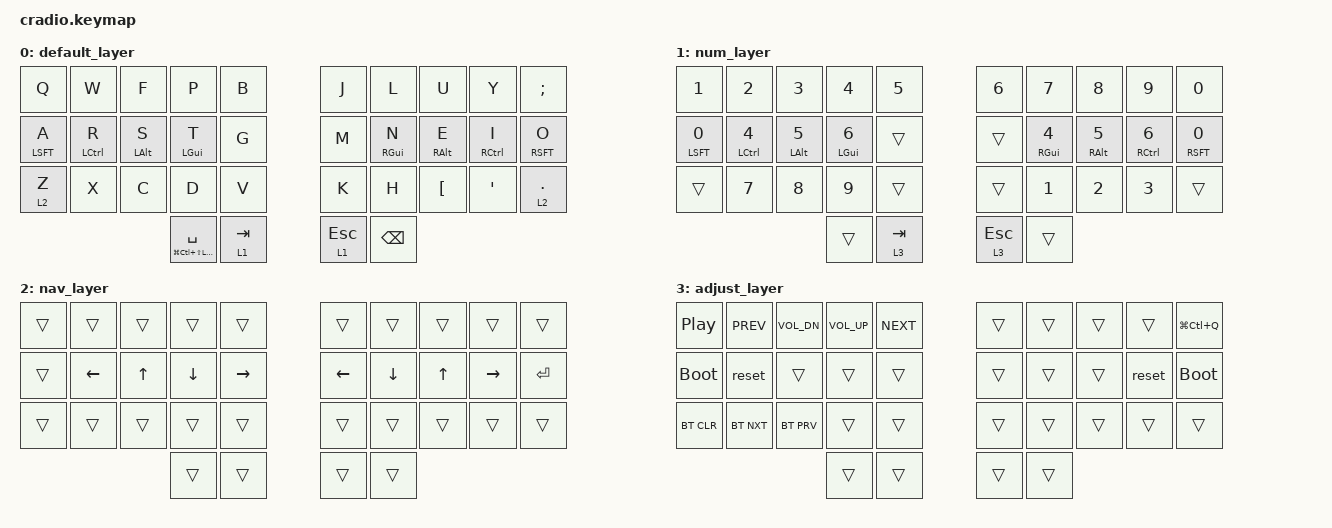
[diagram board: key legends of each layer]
/*
 * Copyright (c) 2020 The ZMK Contributors
 *
 * SPDX-License-Identifier: MIT
 */

#include <behaviors.dtsi>
#include <dt-bindings/zmk/keys.h>
#include <dt-bindings/zmk/bt.h>


&mt {
  flavor = "tap-preferred";
  tapping_term_ms = <200>;
};

#define HPR LG(LC(LS(LALT)))
#define MAC_LOCK LG(LC(Q))

/* Swedish chars */
#define SE_AA           LBKT
#define SE_AE           SQT
#define SE_OO           SEMICOLON

// Left hand
#define SE_LPAR         LS(NUM_8)
#define SE_RPAR         LS(NUM_9)
#define SE_LBKT         LA(NUM_8)
#define SE_RBKT         LA(NUM_9)
#define SE_LBRC         LS(LA(NUM_8))
#define SE_RBRC         LS(LA(NUM_9))

#define SE_TILDE        LA(RBKT) 
#define SE_AT           LA(NUM_2)
#define SE_SLASH        LS(NUM_7) 
#define SE_UNDERSCORE   LS(SLASH)

#define SE_LT           GRAVE
#define SE_PLUS         MINUS

#define SE_PIPE         LA(NUM_7)

// Right hand
#define SE_GRAVE        PLUS
#define SE_EQUAL        LS(NUM_0)

#define SE_CARET        RBRC
#define SE_DOLLAR       LA(NUM_4)
#define SE_ASTERISK     PIPE
#define SE_BACKSLASH    LS(LA(NUM_7))
#define SE_AMPS         LS(NUM_6)
#define SE_COLON        LS(DOT)

#define SE_GT           LS(GRAVE)

#define SE_PERCENT      LS(NUM_5)
#define SE_SEMICOLON    LS(COMMA)

#define SE_ACUT         EQUAL
#define SE_MINUS        SLASH

#define SE_QUESTION     UNDERSCORE
#define SE_EXCLAMATION  LS(NUM_1)

#define SE_SQT          BACKSLASH
#define SE_DQT          LS(NUM_2)

/ { 

    combos {
        compatible = "zmk,combos";
        combo_esc_homerow {
            timeout-ms = <50>;
            key-positions = <11 12 13>;
            bindings = <&kp ESC>;
        };

        combo_esc_thumbs {
            timeout-ms = <50>;
            key-positions = <30 31>;
            bindings = <&kp ESC>;
        };

        combo_enter_homerow {
            timeout-ms = <50>;
            key-positions = <16 17 18>;
            bindings = <&kp RET>;
        };

        combo_enter_thumbs {
            timeout-ms = <50>;
            key-positions = <32 33>;
            bindings = <&kp RET>;
        };

        combo_up {
            timeout-ms = <50>;
            key-positions = <16 7>;
            bindings = <&kp UP>;
        };

        combo_down {
            timeout-ms = <50>;
            key-positions = <16 17>;
            bindings = <&kp DOWN>;
        };

        combo_left {
            timeout-ms = <50>;
            key-positions = <15 16>;
            bindings = <&kp LEFT>;
        };

        combo_right {
            timeout-ms = <50>;
            key-positions = <17 18>;
            bindings = <&kp RIGHT>;
        };


        combo_exclamation {
            timeout-ms = <50>;
            key-positions = <0 1>;
            bindings = <&kp SE_EXCLAMATION>;
        };

        combo_lpar {
            timeout-ms = <50>;
            key-positions = <1 2>;
            bindings = <&kp SE_LPAR>;
        };

        combo_rpar {
            timeout-ms = <50>;
            key-positions = <2 3>;
            bindings = <&kp SE_RPAR>;
        };


        combo_tilde {
            timeout-ms = <50>;
            key-positions = <0 10>;
            bindings = <&kp SE_TILDE>;
        };

        combo_at {
            timeout-ms = <50>;
            key-positions = <1 11>;
            bindings = <&kp SE_AT>;
        };

        combo_slash {
            timeout-ms = <50>;
            key-positions = <2 11>;
            bindings = <&kp SE_SLASH>;
        };

        combo_hash {
            timeout-ms = <50>;
            key-positions = <2 12>;
            bindings = <&kp HASH>;
        };

        combo_dqt {
            timeout-ms = <50>;
            key-positions = <2 13>;
            bindings = <&kp SE_DQT>;
        };

        combo_underscore {
            timeout-ms = <50>;
            key-positions = <3 13>;
            bindings = <&kp SE_UNDERSCORE>;
        };


        combo_lt {
            timeout-ms = <50>;
            key-positions = <10 11>;
            bindings = <&kp SE_LT>;
        };

        combo_lbrc {
            timeout-ms = <50>;
            key-positions = <11 12>;
            bindings = <&kp SE_LBRC>;
        };

        combo_rbrc {
            timeout-ms = <50>;
            key-positions = <12 13>;
            bindings = <&kp SE_RBRC>;
        };

        combo_plus {
            timeout-ms = <50>;
            key-positions = <13 14>;
            bindings = <&kp SE_PLUS>;
        };


        combo_sqt {
            timeout-ms = <50>;
            key-positions = <12 23>;
            bindings = <&kp SE_SQT>;
        };

        combo_pipe {
            timeout-ms = <50>;
            key-positions = <13 23>;
            bindings = <&kp SE_PIPE>;
        };


        combo_lbkt {
            timeout-ms = <50>;
            key-positions = <21 22>;
            bindings = <&kp SE_LBKT>;
        };

        combo_rbkt {
            timeout-ms = <50>;
            key-positions = <22 23>;
            bindings = <&kp SE_RBKT>;
        };



        combo_grave {
            timeout-ms = <50>;
            key-positions = <6 7>;
            bindings = <&kp SE_GRAVE>;
        };

        combo_equal {
            timeout-ms = <50>;
            key-positions = <7 8>;
            bindings = <&kp SE_EQUAL>;
        };


        combo_caret {
            timeout-ms = <50>;
            key-positions = <5 15>;
            bindings = <&kp SE_CARET>;
        };

        combo_dollar {
            timeout-ms = <50>;
            key-positions = <6 16>;
            bindings = <&kp SE_DOLLAR>;
        };

        combo_asterisk {
            timeout-ms = <50>;
            key-positions = <7 17>;
            bindings = <&kp SE_ASTERISK>;
        };

        combo_backslash {
            timeout-ms = <50>;
            key-positions = <7 18>;
            bindings = <&kp SE_BACKSLASH>;
        };

        combo_semicolon {
            timeout-ms = <50>;
            key-positions = <8 18>;
            bindings = <&kp SE_SEMICOLON>;
        };

        combo_colon {
            timeout-ms = <50>;
            key-positions = <9 19>;
            bindings = <&kp SE_COLON>;
        };


        combo_gt {
            timeout-ms = <50>;
            key-positions = <18 19>;
            bindings = <&kp SE_GT>;
        };


        combo_percent {
            timeout-ms = <50>;
            key-positions = <16 26>;
            bindings = <&kp SE_PERCENT>;
        };

        combo_comma {
            timeout-ms = <50>;
            key-positions = <17 26>;
            bindings = <&kp COMMA>;
        };

        combo_amps {
            timeout-ms = <50>;
            key-positions = <18 28>;
            bindings = <&kp SE_AMPS>;
        };


        combo_acut {
            timeout-ms = <50>;
            key-positions = <26 27>;
            bindings = <&kp SE_ACUT>;
        };

        combo_minus {
            timeout-ms = <50>;
            key-positions = <27 28>;
            bindings = <&kp SE_MINUS>;
        };


        combo_question {
            timeout-ms = <50>;
            key-positions = <8 16>;
            bindings = <&kp SE_QUESTION>;
        };

        combo_exclamation_right {
            timeout-ms = <50>;
            key-positions = <9 16>;
            bindings = <&kp SE_EXCLAMATION>;
        };

        combo_sqt_left {
            timeout-ms = <50>;
            key-positions = <1 3>;
            bindings = <&kp SE_SQT>;
        };

        combo_dqt_left {
            timeout-ms = <50>;
            key-positions = <11 13>;
            bindings = <&kp SE_DQT>;
        };

        combo_sqt_right {
            timeout-ms = <50>;
            key-positions = <6 8>;
            bindings = <&kp SE_SQT>;
        };

        combo_dqt_right {
            timeout-ms = <50>;
            key-positions = <16 18>;
            bindings = <&kp SE_DQT>;
        };
    };

        keymap {
                compatible = "zmk,keymap";
                
		default_layer {
		bindings = <
		&kp Q       &kp W       &kp F       &kp P       &kp B			&kp J       &kp L       &kp U       &kp Y       &kp SE_OO
		&mt LSFT A  &mt LCTL R  &mt LALT S  &mt LGUI T  &kp G			&kp M       &mt RGUI N  &mt RALT E  &mt RCTL I  &mt RSFT O
		&lt 2 Z     &kp X       &kp C       &kp D       &kp V			&kp K       &kp H       &kp SE_AA   &kp SE_AE   &lt 2 DOT
		                                    &mt HPR SPC &lt 1 TAB		&lt 1 ESC   &kp BSPC
		>;
		};

		num_layer {
		bindings = <
		&kp NUM_1       &kp NUM_2       &kp NUM_3       &kp NUM_4       &kp NUM_5		&kp NUM_6   &kp NUM_7       &kp NUM_8       &kp NUM_9       &kp NUM_0
		&mt LSFT NUM_0  &mt LCTL NUM_4  &mt LALT NUM_5  &mt LGUI NUM_6  &trans			&trans      &mt RGUI NUM_4  &mt RALT NUM_5  &mt RCTL NUM_6  &mt RSFT NUM_0
		&trans          &kp NUM_7       &kp NUM_8       &kp NUM_9       &trans			&trans      &kp NUM_1       &kp NUM_2       &kp NUM_3       &trans
		                                                &trans          &lt 3 TAB		&lt 3 ESC   &trans
		>;
		};
		
		nav_layer {
		bindings = <
		&trans       &trans    &trans  &trans    &trans			&trans    &trans    &trans  &trans     &trans
		&trans       &kp LEFT  &kp UP  &kp DOWN  &kp RIGHT		&kp LEFT  &kp DOWN  &kp UP  &kp RIGHT  &kp RET
		&trans       &trans    &trans  &trans    &trans			&trans    &trans    &trans  &trans     &trans
		                               &trans    &trans			&trans    &trans 
		>;
		};	
		
		adjust_layer {
		bindings = <
		&kp C_PLAY_PAUSE  &kp C_PREV  &kp C_VOL_DN  &kp C_VOL_UP  &kp C_NEXT		&trans  &trans  &trans  &trans  &kp MAC_LOCK
		&bootloader       &reset      &trans        &trans        &trans			&trans  &trans  &trans  &reset  &bootloader
		&bt BT_CLR        &bt BT_NXT  &bt BT_PRV    &trans        &trans			&trans  &trans  &trans  &trans  &trans
		                                            &trans        &trans			&trans  &trans
		>;
		};	
        
	};
};
